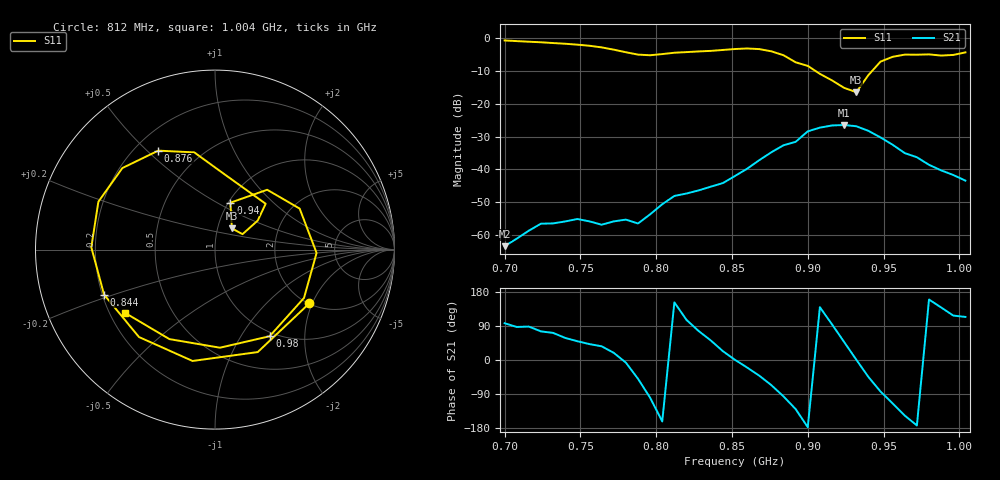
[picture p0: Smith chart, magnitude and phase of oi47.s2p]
# Hz S RI R 50
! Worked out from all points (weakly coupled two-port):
!   39 points, 700 MHz to 1.004 GHz, reference 50 ohm
!   highest |S21| = -26.46 dB at 924 MHz (marker M1); lowest = -63.5 dB at 700 MHz (marker M2)
!   lowest |S11| = -16.4 dB at 932 MHz (marker M3), VSWR 1.36, Z = 58.6 + j14.1 ohm
!   |S11| at or under -10 dB: 905.3 MHz to 942.3 MHz (37.04 MHz wide, 4.01 % of centre)
!   S12 and S22 are empty: the file has one direction only
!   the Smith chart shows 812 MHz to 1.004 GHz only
!   S11 on the Smith chart (normalised r, x): 812 MHz: 2.01, -1.90; 844 MHz: 0.21, -0.19; 876 MHz: 0.29, +0.54; 940 MHz: 1.02, +0.58; 980 MHz: 0.94, -1.35; 1.004 GHz: 0.26, -0.30
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7e8  0.7662 0.5296  -8.18e-05 0.000665  0 0  0 0
7.24e8  0.8343 -0.2592  0.000371 0.00143  0 0  0 0
7.4e8  0.4459 -0.6993  0.000843 0.00136  0 0  0 0
7.56e8  -0.1917 -0.7486  0.00119 0.00107  0 0  0 0
7.72e8  -0.6465 -0.1895  0.00152 0.000521  0 0  0 0
7.8e8  -0.5719 0.2272  0.00169 -0.000205  0 0  0 0
7.88e8  -0.2218 0.5206  0.000966 -0.00113  0 0  0 0
7.96e8  0.2543 0.4917  -0.000343 -0.00202  0 0  0 0
8.04e8  0.5597 0.139  -0.00279 -0.000901  0 0  0 0
8.12e8  0.5252 -0.2999  -0.00347 0.00183  0 0  0 0
8.28e8  -0.1251 -0.6204  0.00111 0.00464  0 0  0 0
8.44e8  -0.6181 -0.2507  0.00566 0.00244  0 0  0 0
8.52e8  -0.6891 0.0128  0.00791 5.2e-05  0 0  0 0
8.76e8  -0.3162 0.5513  0.00729 -0.0167  0 0  0 0
9e8  0.2822 0.2554  -0.038 -0.0018  0 0  0 0
9.08e8  0.238 0.1618  -0.0329 0.0283  0 0  0 0
9.24e8  0.1533 0.086  0.0321 0.0351  0 0  0 0
9.32e8  0.0942 0.118  0.0456 0.000759  0 0  0 0
9.4e8  0.0859 0.2614  0.0276 -0.0272  0 0  0 0
9.56e8  0.4716 0.2285  -0.00986 -0.0216  0 0  0 0
9.8e8  0.3044 -0.4826  -0.011 0.00408  0 0  0 0
1.004e9  -0.4997 -0.3533  -0.0027 0.00616  0 0  0 0
